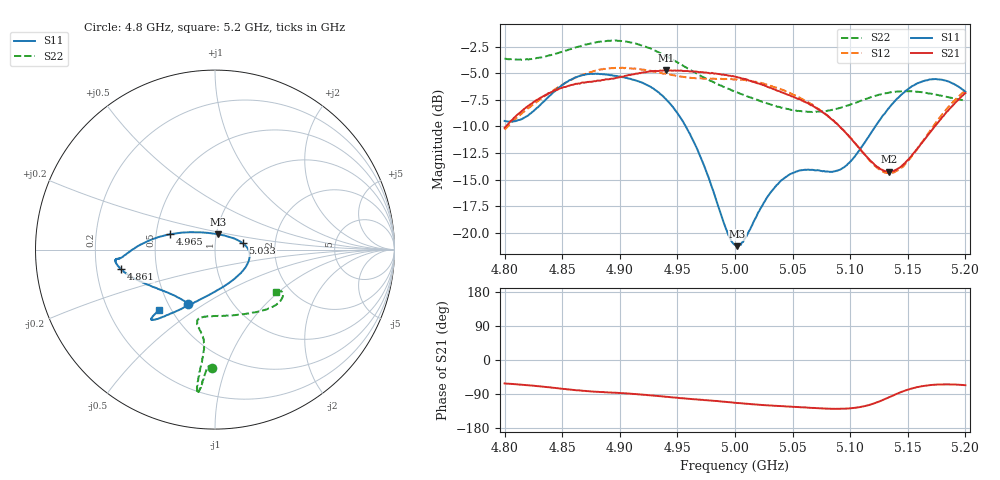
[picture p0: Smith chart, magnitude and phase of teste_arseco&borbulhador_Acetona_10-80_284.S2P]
! Network Analyzer HP8722D
! Hewlett-Packard
! Data name: Linha & Wilkinson
! Saver's name: Rodrigo Anjos
! Comments: Teste da utilização de aquisição
! continua pelo VNA HP8722D
! Time and date: 17/4/2025 16:43
!  Frequency  S11  S21  S12  S22
# HZ  S  MA R 50
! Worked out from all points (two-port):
!   401 points, 4.8 GHz to 5.2 GHz, reference 50 ohm
!   highest |S21| = -4.74 dB at 4.94 GHz (marker M1); lowest = -14.2 dB at 5.134 GHz (marker M2)
!   |S21| within 3 dB of the highest: 4.825 GHz to 5.062 GHz (236.7 MHz wide, 4.79 % of centre); 5.191536 GHz to end of sweep
!   lowest |S11| = -21.2 dB at 5.002 GHz (marker M3), VSWR 1.19, Z = 50.8 + j8.74 ohm
!   |S11| at or under -10 dB: 4.957 GHz to 5.122 GHz (164.5 MHz wide, 3.26 % of centre)
!   |S22| runs from -8.7 to -1.9 dB; largest |S21 - S12| = 0.87
!   S11 on the Smith chart (normalised r, x): 4.8 GHz: 0.63, -0.43; 4.861 GHz: 0.31, -0.09; 4.965 GHz: 0.59, +0.11; 5.033 GHz: 1.37, +0.10; 5.2 GHz: 0.43, -0.37
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4.8e9  0.3356 -116.2  0.3114 -61.8  0.3058 -176.3  0.6581 -91.3
4.819e9  0.3526 -136.4  0.3898 -66.2  0.3785 -175.8  0.6534 -92.9
4.861e9  0.5359 -168.3  0.4991 -79.3  0.5352 -179.3  0.7401 -95.6
4.867e9  0.5494 -170.6  0.5076 -81.1  0.5499 179.6  0.757 -95.7
4.898e9  0.5439 -174.6  0.5359 -86.7  0.595 173.7  0.7977 -96.9
4.934e9  0.4558 179.6  0.5758 -95.4  0.5683 170.2  0.703 -97.3
4.94e9  0.425 177.0  0.5794 -97.1  0.5581 170.2  0.6776 -97.1
4.965e9  0.2626 160.9  0.5728 -103.8  0.5334 172.2  0.5675 -96.4
4.993e9  0.102 113.9  0.5506 -110.8  0.5276 174.4  0.4781 -98.8
5e9  0.08793 87.8  0.5423 -113.0  0.5265 174.2  0.4606 -100.1
5.002e9  0.08675 80.0  0.538 -113.4  0.5229 174.3  0.4568 -100.7
5.009e9  0.09478 55.2  0.5278 -115.2  0.5222 174.2  0.4416 -102.2
5.033e9  0.1601 12.6  0.4744 -120.6  0.4853 173.1  0.3973 -103.5
5.049e9  0.19 -2.9  0.4377 -123.2  0.4504 172.5  0.3778 -98.9
5.067e9  0.198 -22.3  0.3975 -126.3  0.4012 172.1  0.3699 -88.6
5.096e9  0.2062 -72.9  0.2959 -128.3  0.2961 174.6  0.3937 -66.0
5.121e9  0.3114 -110.7  0.2095 -114.3  0.2074 -169.0  0.4391 -49.4
5.134e9  0.3881 -120.5  0.1943 -98.0  0.1903 -150.9  0.4563 -43.2
5.148e9  0.4643 -127.0  0.2144 -80.4  0.211 -130.6  0.4629 -38.0
5.168e9  0.5235 -131.6  0.2907 -66.9  0.295 -113.1  0.4512 -33.3
5.184e9  0.5164 -132.8  0.3712 -64.3  0.3835 -108.6  0.4354 -32.2
5.2e9  0.4598 -132.8  0.4536 -66.5  0.465 -108.7  0.4168 -34.9
